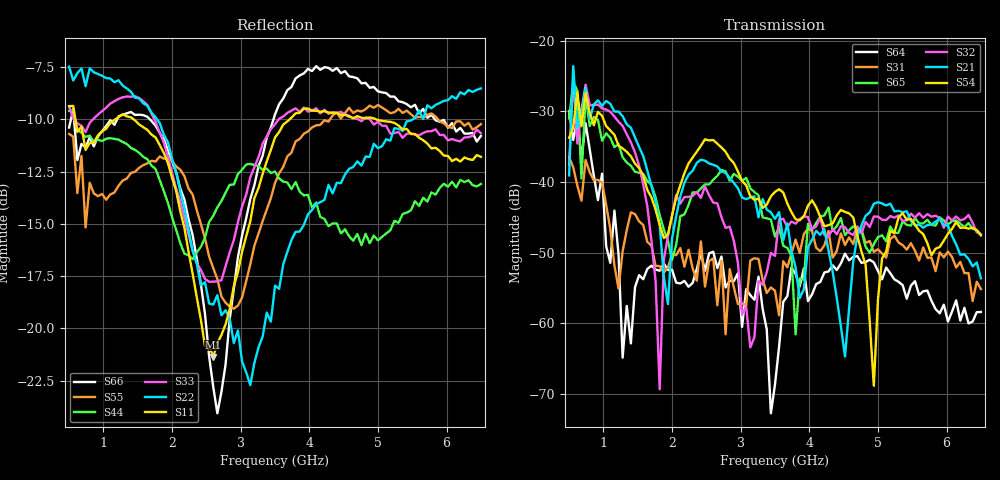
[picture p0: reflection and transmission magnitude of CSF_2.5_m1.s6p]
!Keysight Technologies,M9804A,MY58100912,A.14.10.03
!Date: Thursday, April 27, 2023 10:28:33
!Correction: S11(C  6-Port  )
!S12(C  6-Port  )
!S13(C  6-Port  )
!S14(C  6-Port  )
!S15(C  6-Port  )
!S16(C  6-Port  )
!S21(C  6-Port  )
!S22(C  6-Port  )
!S23(C  6-Port  )
!S24(C  6-Port  )
!S25(C  6-Port  )
!S26(C  6-Port  )
!S31(C  6-Port  )
!S32(C  6-Port  )
!S33(C  6-Port  )
!S34(C  6-Port  )
!S35(C  6-Port  )
!S36(C  6-Port  )
!S41(C  6-Port  )
!S42(C  6-Port  )
!S43(C  6-Port  )
!S44(C  6-Port  )
!S45(C  6-Port  )
!S46(C  6-Port  )
!S51(C  6-Port  )
!S52(C  6-Port  )
!S53(C  6-Port  )
!S54(C  6-Port  )
!S55(C  6-Port  )
!S56(C  6-Port  )
!S61(C  6-Port  )
!S62(C  6-Port  )
!S63(C  6-Port  )
!S64(C  6-Port  )
!S65(C  6-Port  )
!S66(C  6-Port  )
!S6P File: Measurement: :
# Hz S  RI  R 50
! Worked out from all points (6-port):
!   101 points, 500 MHz to 6.5 GHz, reference 50 ohm
!   strongest paths, dB at 500 MHz, 2 GHz, 3.5 GHz, 5 GHz, 6.5 GHz:
!     S54: -33.7, -44.8, -41.4, -56.7, -47.6
!     S21: -39.1, -48.0, -45.2, -42.9, -53.6
!     S32: -37.6, -44.6, -50.5, -44.9, -47.4
!     S65: -31.0, -51.0, -47.7, -47.8, -47.4
!     S31: -36.5, -50.3, -55.4, -49.5, -55.2
!     S64: -30.0, -52.4, -68.7, -52.6, -58.4
!   lowest |S11| = -21.4 dB at 2.6 GHz (marker M1), VSWR 1.19, Z = 42.4 + j2.16 ohm
!   |S11| at or under -10 dB: 591 MHz to 1.173 GHz (581.5 MHz wide, 65.9 % of centre); 1.441 GHz to 3.712 GHz (2.272 GHz wide, 88.2 % of centre); 4.976 GHz to end of sweep
